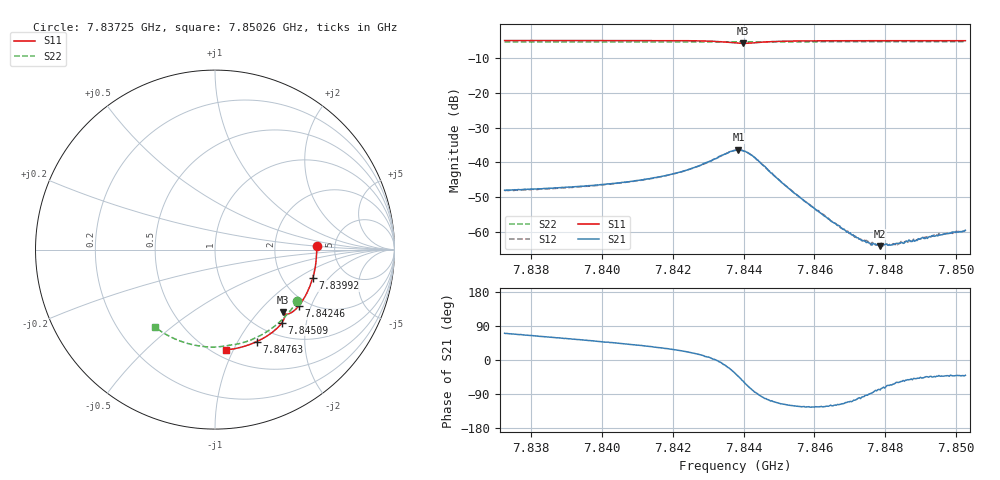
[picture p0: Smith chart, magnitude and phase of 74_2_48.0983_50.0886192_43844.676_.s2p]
#  HZ  S  RI  R  50.00
! Rohde & Schwarz Vector Network Analyzer
! Rohde-Schwarz,ZNB20-2Port,1311601062101988,3.16
! Created: UTC 12/23/2023, 3:42:05 AM
! freq[Hz]  re:S11  im:S11  re:S21  im:S21  re:S12  im:S12  re:S22  im:S22
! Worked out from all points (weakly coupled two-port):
!   401 points, 7.83725 GHz to 7.85026 GHz, reference 50 ohm
!   highest |S21| = -36.39 dB at 7.84385 GHz (marker M1); lowest = -64.1 dB at 7.84786 GHz (marker M2)
!   lowest |S11| = -5.8 dB at 7.84398 GHz (marker M3), VSWR 3.12, Z = 72.3 - j68.7 ohm
!   |S11| at or under -10 dB: nowhere
!   |S22| runs from -5.4 to -5.3 dB; largest |S21 - S12| = 0.00031
!   S11 on the Smith chart (normalised r, x): 7.83725 GHz: 3.60, +0.20; 7.83992 GHz: 2.92, -1.36; 7.84246 GHz: 1.78, -1.64; 7.84509 GHz: 1.24, -1.46; 7.84763 GHz: 0.80, -1.20; 7.85026 GHz: 0.57, -0.94
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7.837251e9  0.5661 0.0185  0.00133 0.00374  0.00134 0.00368  0.4581 -0.2853
7.839431e9  0.553 -0.1258  0.00272 0.00363  0.00268 0.00358  0.3607 -0.4025
7.839918e9  0.5447 -0.1576  0.0031 0.00357  0.00307 0.00351  0.3346 -0.4246
7.84161e9  0.5 -0.2643  0.00521 0.00334  0.00516 0.00334  0.2343 -0.488
7.842456e9  0.4656 -0.315  0.0074 0.00278  0.00738 0.00278  0.1795 -0.5109
7.843301e9  0.4141 -0.3567  0.012 -0.000926  0.0121 -0.000796  0.1222 -0.5266
7.843757e9  0.3819 -0.3565  0.0122 -0.00848  0.0123 -0.00849  0.0916 -0.5313
7.843854e9  0.3789 -0.3529  0.0109 -0.0106  0.0109 -0.0104  0.0855 -0.5322
7.843984e9  0.3786 -0.349  0.0083 -0.0121  0.0083 -0.0121  0.0774 -0.5336
7.844277e9  0.3866 -0.3533  0.00179 -0.012  0.00187 -0.012  0.0586 -0.5369
7.84509e9  0.3733 -0.4071  -0.0022 -0.00454  -0.00222 -0.00458  0.00185 -0.5428
7.845936e9  0.3312 -0.4514  -0.00128 -0.0019  -0.00128 -0.00193  -0.0578 -0.5406
7.847074e9  0.2661 -0.4955  -0.000289 -0.000852  -0.000276 -0.000892  -0.1366 -0.527
7.847335e9  0.2504 -0.5041  -0.000102 -0.000742  -0.000126 -0.000756  -0.1543 -0.5225
7.847627e9  0.2328 -0.5123  3.47e-05 -0.000645  2.19e-05 -0.000707  -0.1739 -0.5163
7.847855e9  0.2187 -0.5187  0.000121 -0.000615  0.000171 -0.000638  -0.1891 -0.5111
7.848115e9  0.2025 -0.5253  0.000252 -0.000599  0.000281 -0.000591  -0.2061 -0.5046
7.848343e9  0.1883 -0.5306  0.000351 -0.000585  0.000356 -0.000549  -0.2209 -0.4986
7.848506e9  0.1778 -0.5342  0.000401 -0.000553  0.000395 -0.000605  -0.2314 -0.4938
7.848701e9  0.1654 -0.5382  0.000462 -0.000581  0.00045 -0.000571  -0.2436 -0.488
7.849449e9  0.1171 -0.5506  0.00065 -0.000603  0.000669 -0.000609  -0.2897 -0.4626
7.850262e9  0.0637 -0.5589  0.000805 -0.000685  0.000775 -0.000699  -0.3365 -0.4303
